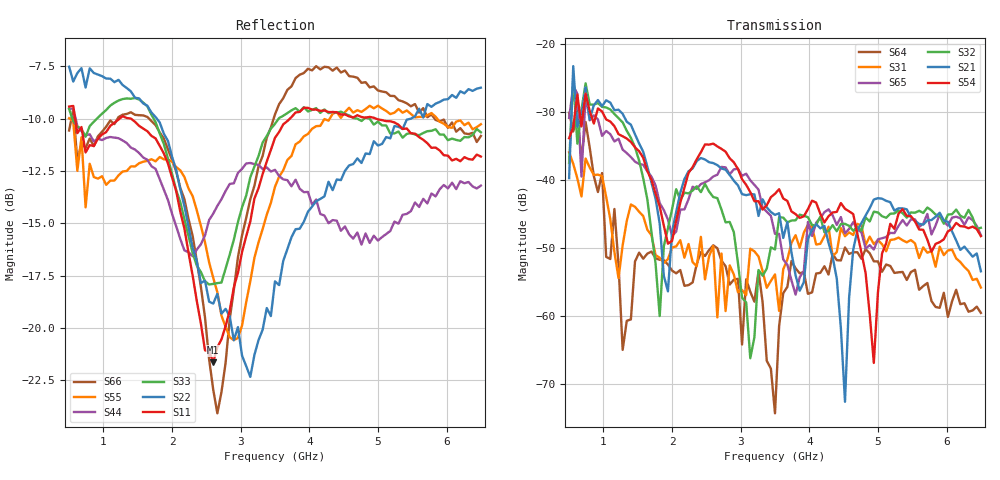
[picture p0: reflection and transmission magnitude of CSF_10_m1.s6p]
!Keysight Technologies,M9804A,MY58100912,A.14.10.03
!Date: Thursday, April 27, 2023 10:28:33
!Correction: S11(C  6-Port  )
!S12(C  6-Port  )
!S13(C  6-Port  )
!S14(C  6-Port  )
!S15(C  6-Port  )
!S16(C  6-Port  )
!S21(C  6-Port  )
!S22(C  6-Port  )
!S23(C  6-Port  )
!S24(C  6-Port  )
!S25(C  6-Port  )
!S26(C  6-Port  )
!S31(C  6-Port  )
!S32(C  6-Port  )
!S33(C  6-Port  )
!S34(C  6-Port  )
!S35(C  6-Port  )
!S36(C  6-Port  )
!S41(C  6-Port  )
!S42(C  6-Port  )
!S43(C  6-Port  )
!S44(C  6-Port  )
!S45(C  6-Port  )
!S46(C  6-Port  )
!S51(C  6-Port  )
!S52(C  6-Port  )
!S53(C  6-Port  )
!S54(C  6-Port  )
!S55(C  6-Port  )
!S56(C  6-Port  )
!S61(C  6-Port  )
!S62(C  6-Port  )
!S63(C  6-Port  )
!S64(C  6-Port  )
!S65(C  6-Port  )
!S66(C  6-Port  )
!S6P File: Measurement: :
# Hz S  RI  R 50
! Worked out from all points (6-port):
!   101 points, 500 MHz to 6.5 GHz, reference 50 ohm
!   strongest paths, dB at 500 MHz, 2 GHz, 3.5 GHz, 5 GHz, 6.5 GHz:
!     S54: -33.9, -49.0, -42.1, -56.5, -48.3
!     S21: -39.8, -47.6, -45.2, -42.7, -53.5
!     S32: -37.5, -44.3, -50.2, -44.8, -47.1
!     S65: -30.9, -48.2, -48.0, -48.8, -48.1
!     S31: -35.9, -49.9, -53.9, -48.9, -55.8
!     S64: -30.1, -53.4, -74.3, -52.0, -59.6
!   lowest |S11| = -21.6 dB at 2.6 GHz (marker M1), VSWR 1.18, Z = 42.6 + j2.06 ohm
!   |S11| at or under -10 dB: 588 MHz to 1.236 GHz (648 MHz wide, 71.1 % of centre); 1.4 GHz to 3.717 GHz (2.317 GHz wide, 90.5 % of centre); 4.973 GHz to end of sweep
